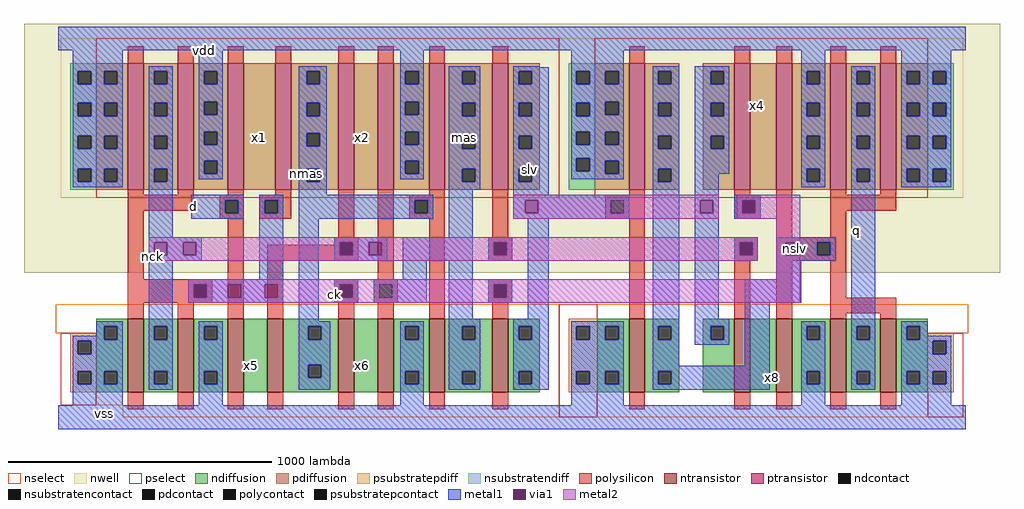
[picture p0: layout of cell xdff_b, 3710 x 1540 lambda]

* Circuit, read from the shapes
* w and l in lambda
.subckt xdff_b q d ck vdd vss
M1 nck ck vss vss nfet w=280 l=60 m=2
M2 x5 d vss vss nfet w=280 l=60
M3 nmas nck x5 vss nfet w=280 l=60
M4 x6 ck nmas vss nfet w=280 l=60
M5 vss mas x6 vss nfet w=280 l=60
M6 mas nmas vss vss nfet w=280 l=60
M7 slv ck mas vss nfet w=280 l=60
M8 nslv slv vss vss nfet w=280 l=60
M9 x8 nck slv vss nfet w=280 l=60
M10 vss nslv x8 vss nfet w=280 l=60
M11 q nslv vss vss nfet w=280 l=60 m=2
M12 nck ck vdd vdd pfet w=480 l=60 m=2
M13 x1 d vdd vdd pfet w=480 l=60
M14 nmas ck x1 vdd pfet w=480 l=60
M15 x2 nck nmas vdd pfet w=480 l=60
M16 vdd mas x2 vdd pfet w=480 l=60
M17 mas nmas vdd vdd pfet w=480 l=60
M18 slv nck mas vdd pfet w=480 l=60
M19 nslv slv vdd vdd pfet w=480 l=60
M20 x4 ck slv vdd pfet w=480 l=60
M21 vdd nslv x4 vdd pfet w=480 l=60
M22 q nslv vdd vdd pfet w=480 l=60 m=2
.ends

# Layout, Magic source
magic
tech amic5n
<< nwell >>
rect -130 550 3580 1495
<< ntransistor >>
rect 265 95 325 375
rect 455 95 515 375
rect 645 95 705 375
rect 795 95 855 375
rect 1065 95 1125 375
rect 1215 95 1275 375
rect 1410 95 1470 375
rect 1650 95 1710 375
rect 2170 95 2230 375
rect 2570 95 2630 375
rect 2730 95 2790 375
rect 2935 95 2995 375
rect 3125 95 3185 375
<< ptransistor >>
rect 265 865 325 1345
rect 455 865 515 1345
rect 645 865 705 1345
rect 825 865 885 1345
rect 1065 865 1125 1345
rect 1215 865 1275 1345
rect 1410 865 1470 1345
rect 1650 865 1710 1345
rect 2170 865 2230 1345
rect 2570 865 2630 1345
rect 2730 865 2790 1345
rect 2935 865 2995 1345
rect 3125 865 3185 1345
<< nselect >>
rect 10 835 145 1440
rect 1905 835 2040 1440
rect 3305 835 3440 1440
rect -10 320 1905 430
rect 145 45 1905 320
rect 245 0 1905 45
rect 2050 320 3460 430
rect 2050 0 3305 320
<< pselect >>
rect 145 835 1905 1440
rect 2040 835 3305 1440
rect 10 45 145 320
rect 1905 0 2050 430
rect 3305 0 3440 320
<< ndiffusion >>
rect 145 345 265 375
rect 145 295 175 345
rect 225 295 265 345
rect 145 175 265 295
rect 145 125 175 175
rect 225 125 265 175
rect 145 95 265 125
rect 325 345 455 375
rect 325 295 365 345
rect 415 295 455 345
rect 325 175 455 295
rect 325 125 365 175
rect 415 125 455 175
rect 325 95 455 125
rect 515 345 645 375
rect 515 295 555 345
rect 605 295 645 345
rect 515 175 645 295
rect 515 125 555 175
rect 605 125 645 175
rect 515 95 645 125
rect 705 95 795 375
rect 855 345 1065 375
rect 855 295 950 345
rect 1000 295 1065 345
rect 855 200 1065 295
rect 855 150 950 200
rect 1000 150 1065 200
rect 855 95 1065 150
rect 1125 95 1215 375
rect 1275 345 1410 375
rect 1275 295 1320 345
rect 1370 295 1410 345
rect 1275 175 1410 295
rect 1275 125 1320 175
rect 1370 125 1410 175
rect 1275 95 1410 125
rect 1470 345 1650 375
rect 1470 295 1535 345
rect 1585 295 1650 345
rect 1470 175 1650 295
rect 1470 125 1535 175
rect 1585 125 1650 175
rect 1470 95 1650 125
rect 1710 345 1830 375
rect 1710 295 1750 345
rect 1800 295 1830 345
rect 1710 175 1830 295
rect 1710 125 1750 175
rect 1800 125 1830 175
rect 1710 95 1830 125
rect 2050 345 2170 375
rect 2050 295 2080 345
rect 2130 295 2170 345
rect 2050 175 2170 295
rect 2050 125 2080 175
rect 2130 125 2170 175
rect 2050 95 2170 125
rect 2230 345 2360 375
rect 2230 295 2280 345
rect 2330 295 2360 345
rect 2230 175 2360 295
rect 2230 125 2280 175
rect 2330 125 2360 175
rect 2230 95 2360 125
rect 2450 345 2570 375
rect 2450 295 2480 345
rect 2530 295 2570 345
rect 2450 95 2570 295
rect 2630 95 2730 375
rect 2790 345 2935 375
rect 2790 295 2845 345
rect 2895 295 2935 345
rect 2790 175 2935 295
rect 2790 125 2845 175
rect 2895 125 2935 175
rect 2790 95 2935 125
rect 2995 345 3125 375
rect 2995 295 3035 345
rect 3085 295 3125 345
rect 2995 175 3125 295
rect 2995 125 3035 175
rect 3085 125 3125 175
rect 2995 95 3125 125
rect 3185 345 3305 375
rect 3185 295 3225 345
rect 3275 295 3305 345
rect 3185 175 3305 295
rect 3185 125 3225 175
rect 3275 125 3305 175
rect 3185 95 3305 125
<< pdiffusion >>
rect 145 1315 265 1345
rect 145 1265 175 1315
rect 225 1265 265 1315
rect 145 1195 265 1265
rect 145 1145 175 1195
rect 225 1145 265 1195
rect 145 1070 265 1145
rect 145 1020 175 1070
rect 225 1020 265 1070
rect 145 945 265 1020
rect 145 895 175 945
rect 225 895 265 945
rect 145 865 265 895
rect 325 1315 455 1345
rect 325 1265 365 1315
rect 415 1265 455 1315
rect 325 1195 455 1265
rect 325 1145 365 1195
rect 415 1145 455 1195
rect 325 1070 455 1145
rect 325 1020 365 1070
rect 415 1020 455 1070
rect 325 945 455 1020
rect 325 895 365 945
rect 415 895 455 945
rect 325 865 455 895
rect 515 1315 645 1345
rect 515 1265 555 1315
rect 605 1265 645 1315
rect 515 1200 645 1265
rect 515 1150 555 1200
rect 605 1150 645 1200
rect 515 1085 645 1150
rect 515 1035 555 1085
rect 605 1035 645 1085
rect 515 975 645 1035
rect 515 925 555 975
rect 605 925 645 975
rect 515 865 645 925
rect 705 865 825 1345
rect 885 1315 1065 1345
rect 885 1265 945 1315
rect 995 1265 1065 1315
rect 885 1195 1065 1265
rect 885 1145 945 1195
rect 995 1145 1065 1195
rect 885 1080 1065 1145
rect 885 1030 945 1080
rect 995 1030 1065 1080
rect 885 945 1065 1030
rect 885 895 945 945
rect 995 895 1065 945
rect 885 865 1065 895
rect 1125 865 1215 1345
rect 1275 1315 1410 1345
rect 1275 1265 1320 1315
rect 1370 1265 1410 1315
rect 1275 1200 1410 1265
rect 1275 1150 1320 1200
rect 1370 1150 1410 1200
rect 1275 1085 1410 1150
rect 1275 1035 1320 1085
rect 1370 1035 1410 1085
rect 1275 975 1410 1035
rect 1275 925 1320 975
rect 1370 925 1410 975
rect 1275 865 1410 925
rect 1470 1315 1650 1345
rect 1470 1265 1535 1315
rect 1585 1265 1650 1315
rect 1470 1195 1650 1265
rect 1470 1145 1535 1195
rect 1585 1145 1650 1195
rect 1470 1070 1650 1145
rect 1470 1020 1535 1070
rect 1585 1020 1650 1070
rect 1470 945 1650 1020
rect 1470 895 1535 945
rect 1585 895 1650 945
rect 1470 865 1650 895
rect 1710 1315 1830 1345
rect 1710 1265 1750 1315
rect 1800 1265 1830 1315
rect 1710 1195 1830 1265
rect 1710 1145 1750 1195
rect 1800 1145 1830 1195
rect 1710 1070 1830 1145
rect 1710 1020 1750 1070
rect 1800 1020 1830 1070
rect 1710 945 1830 1020
rect 1710 895 1750 945
rect 1800 895 1830 945
rect 1710 865 1830 895
rect 2040 1315 2170 1345
rect 2040 1265 2080 1315
rect 2130 1265 2170 1315
rect 2040 1200 2170 1265
rect 2040 1150 2080 1200
rect 2130 1150 2170 1200
rect 2040 1085 2170 1150
rect 2040 1035 2080 1085
rect 2130 1035 2170 1085
rect 2040 975 2170 1035
rect 2040 925 2080 975
rect 2130 925 2170 975
rect 2040 865 2170 925
rect 2230 1315 2360 1345
rect 2230 1265 2280 1315
rect 2330 1265 2360 1315
rect 2230 1195 2360 1265
rect 2230 1145 2280 1195
rect 2330 1145 2360 1195
rect 2230 1070 2360 1145
rect 2230 1020 2280 1070
rect 2330 1020 2360 1070
rect 2230 945 2360 1020
rect 2230 895 2280 945
rect 2330 895 2360 945
rect 2230 865 2360 895
rect 2450 1315 2570 1345
rect 2450 1265 2480 1315
rect 2530 1265 2570 1315
rect 2450 1195 2570 1265
rect 2450 1145 2480 1195
rect 2530 1145 2570 1195
rect 2450 1070 2570 1145
rect 2450 1020 2480 1070
rect 2530 1020 2570 1070
rect 2450 865 2570 1020
rect 2630 865 2730 1345
rect 2790 1315 2935 1345
rect 2790 1265 2845 1315
rect 2895 1265 2935 1315
rect 2790 1195 2935 1265
rect 2790 1145 2845 1195
rect 2895 1145 2935 1195
rect 2790 1070 2935 1145
rect 2790 1020 2845 1070
rect 2895 1020 2935 1070
rect 2790 945 2935 1020
rect 2790 895 2845 945
rect 2895 895 2935 945
rect 2790 865 2935 895
rect 2995 1315 3125 1345
rect 2995 1265 3035 1315
rect 3085 1265 3125 1315
rect 2995 1195 3125 1265
rect 2995 1145 3035 1195
rect 3085 1145 3125 1195
rect 2995 1070 3125 1145
rect 2995 1020 3035 1070
rect 3085 1020 3125 1070
rect 2995 945 3125 1020
rect 2995 895 3035 945
rect 3085 895 3125 945
rect 2995 865 3125 895
rect 3185 1315 3305 1345
rect 3185 1265 3225 1315
rect 3275 1265 3305 1315
rect 3185 1195 3305 1265
rect 3185 1145 3225 1195
rect 3275 1145 3305 1195
rect 3185 1070 3305 1145
rect 3185 1020 3225 1070
rect 3275 1020 3305 1070
rect 3185 945 3305 1020
rect 3185 895 3225 945
rect 3275 895 3305 945
rect 3185 865 3305 895
<< psubstratepdiff >>
rect 45 290 145 320
rect 45 240 75 290
rect 125 240 145 290
rect 45 175 145 240
rect 45 125 75 175
rect 125 125 145 175
rect 45 95 145 125
rect 1940 345 2050 375
rect 1940 295 1970 345
rect 2020 295 2050 345
rect 1940 175 2050 295
rect 1940 125 1970 175
rect 2020 125 2050 175
rect 1940 95 2050 125
rect 3305 290 3405 320
rect 3305 240 3325 290
rect 3375 240 3405 290
rect 3305 175 3405 240
rect 3305 125 3325 175
rect 3375 125 3405 175
rect 3305 95 3405 125
<< nsubstratendiff >>
rect 45 1315 145 1345
rect 45 1265 75 1315
rect 125 1265 145 1315
rect 45 1195 145 1265
rect 45 1145 75 1195
rect 125 1145 145 1195
rect 45 1070 145 1145
rect 45 1020 75 1070
rect 125 1020 145 1070
rect 45 945 145 1020
rect 45 895 75 945
rect 125 895 145 945
rect 45 865 145 895
rect 1940 1315 2040 1345
rect 1940 1265 1970 1315
rect 2020 1265 2040 1315
rect 1940 1195 2040 1265
rect 1940 1145 1970 1195
rect 2020 1145 2040 1195
rect 1940 1085 2040 1145
rect 1940 1035 1970 1085
rect 2020 1035 2040 1085
rect 1940 985 2040 1035
rect 1940 935 1970 985
rect 2020 935 2040 985
rect 1940 865 2040 935
rect 3305 1315 3405 1345
rect 3305 1265 3325 1315
rect 3375 1265 3405 1315
rect 3305 1195 3405 1265
rect 3305 1145 3325 1195
rect 3375 1145 3405 1195
rect 3305 1070 3405 1145
rect 3305 1020 3325 1070
rect 3375 1020 3405 1070
rect 3305 945 3405 1020
rect 3305 895 3325 945
rect 3375 895 3405 945
rect 3305 865 3405 895
<< nsubstratencontact >>
rect 75 1265 125 1315
rect 75 1145 125 1195
rect 75 1020 125 1070
rect 75 895 125 945
rect 1970 1265 2020 1315
rect 1970 1145 2020 1195
rect 1970 1035 2020 1085
rect 1970 935 2020 985
rect 3325 1265 3375 1315
rect 3325 1145 3375 1195
rect 3325 1020 3375 1070
rect 3325 895 3375 945
<< psubstratepcontact >>
rect 75 240 125 290
rect 75 125 125 175
rect 1970 295 2020 345
rect 1970 125 2020 175
rect 3325 240 3375 290
rect 3325 125 3375 175
<< ndcontact >>
rect 175 295 225 345
rect 175 125 225 175
rect 365 295 415 345
rect 365 125 415 175
rect 555 295 605 345
rect 555 125 605 175
rect 950 295 1000 345
rect 950 150 1000 200
rect 1320 295 1370 345
rect 1320 125 1370 175
rect 1535 295 1585 345
rect 1535 125 1585 175
rect 1750 295 1800 345
rect 1750 125 1800 175
rect 2080 295 2130 345
rect 2080 125 2130 175
rect 2280 295 2330 345
rect 2280 125 2330 175
rect 2480 295 2530 345
rect 2845 295 2895 345
rect 2845 125 2895 175
rect 3035 295 3085 345
rect 3035 125 3085 175
rect 3225 295 3275 345
rect 3225 125 3275 175
<< pdcontact >>
rect 175 1265 225 1315
rect 175 1145 225 1195
rect 175 1020 225 1070
rect 175 895 225 945
rect 365 1265 415 1315
rect 365 1145 415 1195
rect 365 1020 415 1070
rect 365 895 415 945
rect 555 1265 605 1315
rect 555 1150 605 1200
rect 555 1035 605 1085
rect 555 925 605 975
rect 945 1265 995 1315
rect 945 1145 995 1195
rect 945 1030 995 1080
rect 945 895 995 945
rect 1320 1265 1370 1315
rect 1320 1150 1370 1200
rect 1320 1035 1370 1085
rect 1320 925 1370 975
rect 1535 1265 1585 1315
rect 1535 1145 1585 1195
rect 1535 1020 1585 1070
rect 1535 895 1585 945
rect 1750 1265 1800 1315
rect 1750 1145 1800 1195
rect 1750 1020 1800 1070
rect 1750 895 1800 945
rect 2080 1265 2130 1315
rect 2080 1150 2130 1200
rect 2080 1035 2130 1085
rect 2080 925 2130 975
rect 2280 1265 2330 1315
rect 2280 1145 2330 1195
rect 2280 1020 2330 1070
rect 2280 895 2330 945
rect 2480 1265 2530 1315
rect 2480 1145 2530 1195
rect 2480 1020 2530 1070
rect 2845 1265 2895 1315
rect 2845 1145 2895 1195
rect 2845 1020 2895 1070
rect 2845 895 2895 945
rect 3035 1265 3085 1315
rect 3035 1145 3085 1195
rect 3035 1020 3085 1070
rect 3035 895 3085 945
rect 3225 1265 3275 1315
rect 3225 1145 3275 1195
rect 3225 1020 3275 1070
rect 3225 895 3275 945
<< polysilicon >>
rect 265 1345 325 1410
rect 455 1345 515 1410
rect 645 1345 705 1410
rect 825 1345 885 1410
rect 1065 1345 1125 1410
rect 1215 1345 1275 1410
rect 1410 1345 1470 1410
rect 1650 1345 1710 1410
rect 2170 1345 2230 1410
rect 2570 1345 2630 1410
rect 2730 1345 2790 1410
rect 2935 1345 2995 1410
rect 3125 1345 3185 1410
rect 265 845 325 865
rect 455 845 515 865
rect 645 845 705 865
rect 825 845 885 865
rect 265 785 515 845
rect 615 825 705 845
rect 265 525 325 785
rect 615 775 635 825
rect 685 775 705 825
rect 615 755 705 775
rect 765 825 885 845
rect 765 775 785 825
rect 835 775 885 825
rect 765 755 885 775
rect 265 505 585 525
rect 265 455 515 505
rect 565 455 585 505
rect 265 435 585 455
rect 265 375 325 435
rect 455 375 515 435
rect 645 375 705 755
rect 1065 685 1125 865
rect 1050 665 1140 685
rect 1050 655 1070 665
rect 795 615 1070 655
rect 1120 615 1140 665
rect 795 595 1140 615
rect 795 375 855 595
rect 1215 525 1275 865
rect 1410 845 1470 865
rect 1335 825 1470 845
rect 1335 775 1355 825
rect 1405 775 1470 825
rect 1335 755 1470 775
rect 1050 505 1140 525
rect 1050 455 1070 505
rect 1120 455 1140 505
rect 1050 435 1140 455
rect 1200 505 1290 525
rect 1200 455 1220 505
rect 1270 455 1290 505
rect 1200 435 1290 455
rect 1065 375 1125 435
rect 1215 375 1275 435
rect 1410 375 1470 755
rect 1650 685 1710 865
rect 2170 845 2230 865
rect 2080 825 2230 845
rect 2080 775 2100 825
rect 2150 775 2230 825
rect 2080 755 2230 775
rect 2570 845 2630 865
rect 2570 825 2670 845
rect 2570 775 2600 825
rect 2650 775 2670 825
rect 2570 755 2670 775
rect 1635 665 1725 685
rect 1635 615 1655 665
rect 1705 615 1725 665
rect 1635 595 1725 615
rect 1635 505 1725 525
rect 1635 455 1655 505
rect 1705 455 1725 505
rect 1635 435 1725 455
rect 1650 375 1710 435
rect 2170 375 2230 755
rect 2730 685 2790 865
rect 2935 845 2995 865
rect 3125 845 3185 865
rect 2935 785 3185 845
rect 2935 685 2995 785
rect 2570 665 2660 685
rect 2570 615 2590 665
rect 2640 615 2660 665
rect 2570 595 2660 615
rect 2730 665 2995 685
rect 2730 615 2765 665
rect 2815 615 2885 665
rect 2935 615 2995 665
rect 2730 595 2995 615
rect 2570 375 2630 595
rect 2730 375 2790 595
rect 2935 455 2995 595
rect 2935 395 3185 455
rect 2935 375 2995 395
rect 3125 375 3185 395
rect 265 30 325 95
rect 455 30 515 95
rect 645 30 705 95
rect 795 30 855 95
rect 1065 30 1125 95
rect 1215 30 1275 95
rect 1410 30 1470 95
rect 1650 30 1710 95
rect 2170 30 2230 95
rect 2570 30 2630 95
rect 2730 30 2790 95
rect 2935 30 2995 95
rect 3125 30 3185 95
<< polycontact >>
rect 635 775 685 825
rect 785 775 835 825
rect 515 455 565 505
rect 1070 615 1120 665
rect 1355 775 1405 825
rect 1070 455 1120 505
rect 1220 455 1270 505
rect 2100 775 2150 825
rect 2600 775 2650 825
rect 1655 615 1705 665
rect 1655 455 1705 505
rect 2590 615 2640 665
rect 2765 615 2815 665
rect 2885 615 2935 665
<< metal1 >>
rect 0 1395 3450 1485
rect 55 1315 245 1395
rect 55 1265 75 1315
rect 125 1265 175 1315
rect 225 1265 245 1315
rect 55 1195 245 1265
rect 55 1145 75 1195
rect 125 1145 175 1195
rect 225 1145 245 1195
rect 55 1070 245 1145
rect 55 1020 75 1070
rect 125 1020 175 1070
rect 225 1020 245 1070
rect 55 945 245 1020
rect 55 895 75 945
rect 125 895 175 945
rect 225 895 245 945
rect 55 875 245 895
rect 345 1315 435 1335
rect 345 1265 365 1315
rect 415 1265 435 1315
rect 345 1195 435 1265
rect 345 1145 365 1195
rect 415 1145 435 1195
rect 345 1070 435 1145
rect 345 1020 365 1070
rect 415 1020 435 1070
rect 345 945 435 1020
rect 345 895 365 945
rect 415 895 435 945
rect 535 1315 625 1395
rect 535 1265 555 1315
rect 605 1265 625 1315
rect 535 1200 625 1265
rect 535 1150 555 1200
rect 605 1150 625 1200
rect 535 1085 625 1150
rect 535 1035 555 1085
rect 605 1035 625 1085
rect 535 975 625 1035
rect 535 925 555 975
rect 605 925 625 975
rect 535 905 625 925
rect 915 1315 1020 1335
rect 915 1265 945 1315
rect 995 1265 1020 1315
rect 915 1195 1020 1265
rect 915 1145 945 1195
rect 995 1145 1020 1195
rect 915 1080 1020 1145
rect 915 1030 945 1080
rect 995 1030 1020 1080
rect 915 945 1020 1030
rect 345 685 435 895
rect 915 895 945 945
rect 995 895 1020 945
rect 1300 1315 1390 1395
rect 1300 1265 1320 1315
rect 1370 1265 1390 1315
rect 1300 1200 1390 1265
rect 1300 1150 1320 1200
rect 1370 1150 1390 1200
rect 1300 1085 1390 1150
rect 1300 1035 1320 1085
rect 1370 1035 1390 1085
rect 1300 975 1390 1035
rect 1300 925 1320 975
rect 1370 925 1390 975
rect 1300 905 1390 925
rect 1485 1315 1605 1335
rect 1485 1265 1535 1315
rect 1585 1265 1605 1315
rect 1485 1195 1605 1265
rect 1485 1145 1535 1195
rect 1585 1145 1605 1195
rect 1485 1070 1605 1145
rect 1485 1020 1535 1070
rect 1585 1020 1605 1070
rect 1485 945 1605 1020
rect 915 845 1020 895
rect 1485 895 1535 945
rect 1585 895 1605 945
rect 1485 865 1605 895
rect 1730 1330 1830 1335
rect 1730 1315 1865 1330
rect 1730 1265 1750 1315
rect 1800 1265 1865 1315
rect 1730 1195 1865 1265
rect 1730 1145 1750 1195
rect 1800 1145 1865 1195
rect 1730 1070 1865 1145
rect 1730 1020 1750 1070
rect 1800 1020 1865 1070
rect 1730 945 1865 1020
rect 1730 895 1750 945
rect 1800 895 1865 945
rect 1950 1315 2150 1395
rect 1950 1265 1970 1315
rect 2020 1265 2080 1315
rect 2130 1265 2150 1315
rect 1950 1200 2150 1265
rect 1950 1195 2080 1200
rect 1950 1145 1970 1195
rect 2020 1150 2080 1195
rect 2130 1150 2150 1200
rect 2020 1145 2150 1150
rect 1950 1085 2150 1145
rect 1950 1035 1970 1085
rect 2020 1035 2080 1085
rect 2130 1035 2150 1085
rect 1950 985 2150 1035
rect 1950 935 1970 985
rect 2020 975 2150 985
rect 2020 935 2080 975
rect 1950 925 2080 935
rect 2130 925 2150 975
rect 1950 905 2150 925
rect 2260 1315 2360 1335
rect 2260 1265 2280 1315
rect 2330 1265 2360 1315
rect 2260 1195 2360 1265
rect 2260 1145 2280 1195
rect 2330 1145 2360 1195
rect 2260 1070 2360 1145
rect 2260 1020 2280 1070
rect 2330 1020 2360 1070
rect 2260 945 2360 1020
rect 505 825 705 845
rect 505 775 635 825
rect 685 775 705 825
rect 505 755 705 775
rect 765 825 855 845
rect 765 775 785 825
rect 835 775 855 825
rect 345 665 545 685
rect 345 615 365 665
rect 415 615 475 665
rect 525 615 545 665
rect 345 595 545 615
rect 145 345 245 365
rect 145 310 175 345
rect 55 295 175 310
rect 225 295 245 345
rect 55 290 245 295
rect 55 240 75 290
rect 125 240 245 290
rect 55 175 245 240
rect 55 125 75 175
rect 125 125 175 175
rect 225 125 245 175
rect 55 45 245 125
rect 345 345 435 595
rect 765 525 855 775
rect 495 505 855 525
rect 495 455 515 505
rect 565 455 645 505
rect 695 455 785 505
rect 835 455 855 505
rect 495 435 855 455
rect 915 825 1425 845
rect 915 775 1355 825
rect 1405 775 1425 825
rect 915 755 1425 775
rect 915 365 990 755
rect 1485 685 1575 865
rect 1730 845 1865 895
rect 2260 895 2280 945
rect 2330 895 2360 945
rect 1730 825 2170 845
rect 1730 775 1775 825
rect 1825 775 2100 825
rect 2150 775 2170 825
rect 1730 755 2170 775
rect 1050 665 1250 685
rect 1050 615 1070 665
rect 1120 615 1180 665
rect 1230 615 1250 665
rect 1050 595 1250 615
rect 1310 595 1575 685
rect 1635 665 1725 685
rect 1635 615 1655 665
rect 1705 615 1725 665
rect 1635 595 1725 615
rect 1310 525 1400 595
rect 1050 505 1140 525
rect 1050 455 1070 505
rect 1120 455 1140 505
rect 1050 435 1140 455
rect 1200 505 1400 525
rect 1200 455 1220 505
rect 1270 455 1400 505
rect 1200 435 1400 455
rect 1485 375 1575 595
rect 1635 505 1725 525
rect 1635 455 1655 505
rect 1705 455 1725 505
rect 1635 435 1725 455
rect 1785 375 1865 755
rect 345 295 365 345
rect 415 295 435 345
rect 345 175 435 295
rect 345 125 365 175
rect 415 125 435 175
rect 345 105 435 125
rect 535 345 625 365
rect 535 295 555 345
rect 605 295 625 345
rect 535 175 625 295
rect 535 125 555 175
rect 605 125 625 175
rect 535 45 625 125
rect 915 345 1035 365
rect 915 295 950 345
rect 1000 295 1035 345
rect 915 200 1035 295
rect 915 150 950 200
rect 1000 150 1035 200
rect 915 105 1035 150
rect 1300 345 1390 365
rect 1300 295 1320 345
rect 1370 295 1390 345
rect 1300 175 1390 295
rect 1300 125 1320 175
rect 1370 125 1390 175
rect 1300 45 1390 125
rect 1485 345 1605 375
rect 1485 295 1535 345
rect 1585 295 1605 345
rect 1485 175 1605 295
rect 1485 125 1535 175
rect 1585 125 1605 175
rect 1485 105 1605 125
rect 1730 345 1865 375
rect 1730 295 1750 345
rect 1800 295 1865 345
rect 1730 175 1865 295
rect 1730 125 1750 175
rect 1800 125 1865 175
rect 1730 105 1865 125
rect 1950 345 2150 365
rect 1950 295 1970 345
rect 2020 295 2080 345
rect 2130 295 2150 345
rect 1950 175 2150 295
rect 1950 125 1970 175
rect 2020 125 2080 175
rect 2130 125 2150 175
rect 1950 45 2150 125
rect 2260 345 2360 895
rect 2260 295 2280 345
rect 2330 295 2360 345
rect 2260 195 2360 295
rect 2420 1315 2550 1335
rect 2420 1265 2480 1315
rect 2530 1265 2550 1315
rect 2420 1195 2550 1265
rect 2420 1145 2480 1195
rect 2530 1145 2550 1195
rect 2420 1070 2550 1145
rect 2420 1020 2480 1070
rect 2530 1020 2550 1070
rect 2420 925 2550 1020
rect 2825 1315 2915 1395
rect 2825 1265 2845 1315
rect 2895 1265 2915 1315
rect 2825 1195 2915 1265
rect 2825 1145 2845 1195
rect 2895 1145 2915 1195
rect 2825 1070 2915 1145
rect 2825 1020 2845 1070
rect 2895 1020 2915 1070
rect 2825 945 2915 1020
rect 2420 825 2510 925
rect 2825 895 2845 945
rect 2895 895 2915 945
rect 2825 875 2915 895
rect 3015 1315 3105 1335
rect 3015 1265 3035 1315
rect 3085 1265 3105 1315
rect 3015 1195 3105 1265
rect 3015 1145 3035 1195
rect 3085 1145 3105 1195
rect 3015 1070 3105 1145
rect 3015 1020 3035 1070
rect 3085 1020 3105 1070
rect 3015 945 3105 1020
rect 3015 895 3035 945
rect 3085 895 3105 945
rect 2420 775 2440 825
rect 2490 775 2510 825
rect 2420 375 2510 775
rect 2570 825 2670 845
rect 2570 775 2600 825
rect 2650 775 2670 825
rect 2570 755 2670 775
rect 2570 665 2660 685
rect 2570 615 2590 665
rect 2640 615 2660 665
rect 2570 595 2660 615
rect 2730 665 2955 685
rect 2730 615 2765 665
rect 2815 615 2885 665
rect 2935 615 2955 665
rect 2730 595 2955 615
rect 2730 525 2825 595
rect 2610 435 2825 525
rect 2420 345 2550 375
rect 2420 295 2480 345
rect 2530 295 2550 345
rect 2420 275 2550 295
rect 2610 195 2705 435
rect 2260 175 2705 195
rect 2260 125 2280 175
rect 2330 125 2705 175
rect 2260 105 2705 125
rect 2825 345 2915 365
rect 2825 295 2845 345
rect 2895 295 2915 345
rect 2825 175 2915 295
rect 2825 125 2845 175
rect 2895 125 2915 175
rect 2825 45 2915 125
rect 3015 345 3105 895
rect 3205 1315 3395 1395
rect 3205 1265 3225 1315
rect 3275 1265 3325 1315
rect 3375 1265 3395 1315
rect 3205 1195 3395 1265
rect 3205 1145 3225 1195
rect 3275 1145 3325 1195
rect 3375 1145 3395 1195
rect 3205 1070 3395 1145
rect 3205 1020 3225 1070
rect 3275 1020 3325 1070
rect 3375 1020 3395 1070
rect 3205 945 3395 1020
rect 3205 895 3225 945
rect 3275 895 3325 945
rect 3375 895 3395 945
rect 3205 875 3395 895
rect 3015 295 3035 345
rect 3085 295 3105 345
rect 3015 175 3105 295
rect 3015 125 3035 175
rect 3085 125 3105 175
rect 3015 105 3105 125
rect 3205 345 3305 365
rect 3205 295 3225 345
rect 3275 310 3305 345
rect 3275 295 3395 310
rect 3205 290 3395 295
rect 3205 240 3325 290
rect 3375 240 3395 290
rect 3205 175 3395 240
rect 3205 125 3225 175
rect 3275 125 3325 175
rect 3375 125 3395 175
rect 3205 45 3395 125
rect 0 -45 3450 45
<< via1 >>
rect 365 615 415 665
rect 475 615 525 665
rect 515 455 565 505
rect 645 455 695 505
rect 785 455 835 505
rect 1775 775 1825 825
rect 1070 615 1120 665
rect 1180 615 1230 665
rect 1655 615 1705 665
rect 1070 455 1120 505
rect 1655 455 1705 505
rect 2440 775 2490 825
rect 2600 775 2650 825
rect 2590 615 2640 665
<< metal2 >>
rect 1730 825 2510 845
rect 1730 775 1775 825
rect 1825 775 2440 825
rect 2490 775 2510 825
rect 1730 755 2510 775
rect 2580 825 2820 845
rect 2580 775 2600 825
rect 2650 775 2820 825
rect 2580 755 2820 775
rect 345 665 2660 685
rect 345 615 365 665
rect 415 615 475 665
rect 525 615 1070 665
rect 1120 615 1180 665
rect 1230 615 1655 665
rect 1705 615 2590 665
rect 2640 615 2660 665
rect 345 595 2660 615
rect 2730 525 2820 755
rect 495 505 2820 525
rect 495 455 515 505
rect 565 455 645 505
rect 695 455 785 505
rect 835 455 1070 505
rect 1120 455 1655 505
rect 1705 455 2820 505
rect 495 435 2820 455
<< labels >>
flabel ndiffusion s 1155 195 1155 195 2 FreeSans 400 0 0 0 x6
flabel ndiffusion 735 195 735 195 2 FreeSans 400 0 0 0 x5
flabel metal1 360 610 360 610 2 FreeSans 400 0 0 0 nck
flabel metal1 s 515 800 515 800 2 FreeSans 400 0 0 0 d
port 1 s
flabel metal1 s 555 1395 555 1395 2 FreeSans 400 0 0 0 vdd
port 3 n
flabel pdiffusion s 1155 1065 1155 1065 2 FreeSans 400 0 0 0 x2
flabel pdiffusion s 765 1065 765 1065 2 FreeSans 400 0 0 0 x1
flabel metal1 s 1050 465 1050 465 2 FreeSans 400 0 0 0 ck
port 2 ne
flabel metal1 s 945 925 945 925 2 FreeSans 400 0 0 0 nmas
flabel metal1 s 175 15 175 15 2 FreeSans 400 0 0 0 vss
port 4 s
flabel metal1 s 1791 940 1791 940 8 FreeSans 400 180 0 0 slv
flabel metal1 s 1545 1065 1545 1065 2 FreeSans 400 0 0 0 mas
flabel metal1 s 2800 640 2800 640 2 FreeSans 400 0 0 0 nslv
flabel pdiffusion s 2660 1185 2660 1185 2 FreeSans 400 0 0 0 x4
flabel metal1 s 3035 710 3035 710 2 FreeSans 400 0 0 0 q
port 0 e
flabel ndiffusion s 2715 150 2715 150 2 FreeSans 400 0 0 0 x8
<< properties >>
string LEFsite core
string LEFclass CORE
string FIXED_BBOX 0 0 3450 1440
string LEFsymmetry X Y
<< end >>
